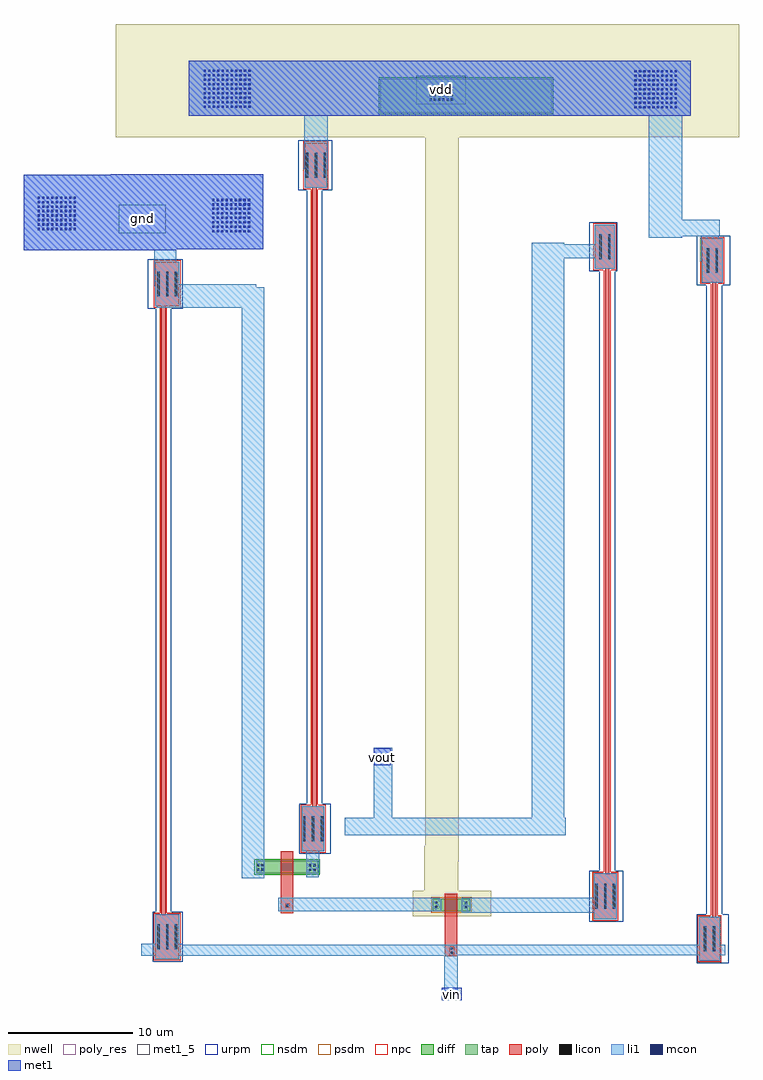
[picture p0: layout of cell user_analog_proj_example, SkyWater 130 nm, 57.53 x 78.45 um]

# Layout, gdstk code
import gdstk
lib = gdstk.Library(unit=1e-6, precision=1e-09)
def R(c, l, rs):  # rectangles x0, y0, x1, y1
    for r in rs: c.add(gdstk.rectangle(r[:2], r[2:], *l))
def A(c, l, x, y, w, h, nx, ny, dx, dy):  # array of equal rectangles
    R(c, l, [(x+i*dx, y+j*dy, x+i*dx+w, y+j*dy+h) for i in range(nx) for j in range(ny)])
nwell = (64, 20)
diff = (65, 20)
tap = (65, 44)
poly_res = (66, 13)
poly = (66, 20)
licon = (66, 44)
li1 = (67, 20)
mcon = (67, 44)
met1_5 = (68, 5)
met1 = (68, 20)
urpm = (79, 20)
nsdm = (93, 44)
psdm = (94, 20)
npc = (95, 20)

user_analog_proj_example = lib.new_cell('user_analog_proj_example')
R(user_analog_proj_example, nwell, [(-2.86,-1.36,3.47,0.69), (-1.92,0.69,0.81,3.04), (-1.92,3.04,0.86,4.27), (-1.85,4.27,0.86,61.25), (-26.73,61.25,23.41,70.34)])
R(user_analog_proj_example, diff, [(-1.23,-0.97,1.77,0.03), (-15.44,2.07,-10.44,3.07)])
R(user_analog_proj_example, tap, [(-5.45,63.21,8.32,65.92)])
R(user_analog_proj_example, poly_res, [(21.16,-1.48,21.63,-1.42), (21.22,-1.42,21.57,49.56), (-23.12,-1.28,-22.65,-1.22), (-23.06,-1.22,-22.71,47.64), (12.55,2.01,13.02,2.07), (12.61,2.07,12.96,50.65), (-10.98,7.41,-10.51,7.47), (-10.92,7.47,-10.57,57.17), (-23.12,47.64,-22.65,47.7), (21.16,49.56,21.63,49.62), (12.55,50.65,13.02,50.71), (-10.98,57.17,-10.51,57.23)])
R(user_analog_proj_example, poly, [(20.17,-4.96,21.86,-1.42), (-23.55,-4.82,-21.6,-1.22), (-0.27,-4.58,0.73,0.42), (11.71,-1.63,13.56,2.07), (21.22,-1.42,21.57,49.56), (-23.06,-1.22,-22.71,47.64), (-13.44,-1.15,-12.44,3.85), (12.61,2.07,12.96,50.65), (-11.75,3.83,-9.95,7.47), (-10.92,7.47,-10.57,57.17), (-23.55,47.64,-21.6,51.24), (20.39,49.56,22.08,53.1), (11.78,50.65,13.41,54.21), (-11.53,57.17,-9.73,60.81)])
A(user_analog_proj_example, licon, -23.38, -4.02, 0.19, 2, 3, 2, 0.71, 52.46)
A(user_analog_proj_example, licon, 11.83, -0.78, 0.19, 2, 3, 1, 0.71, 0)
A(user_analog_proj_example, licon, -11.655, 4.65, 0.19, 2, 3, 1, 0.71, 0)
A(user_analog_proj_example, licon, -11.435, 57.99, 0.19, 2, 3, 1, 0.71, 0)
A(user_analog_proj_example, licon, -1.49, 64.19, 0.17, 0.17, 6, 4, 0.34, 0.34)
R(user_analog_proj_example, licon, [(0.21,-4.405,0.38,-4.235), (20.565,-4.19,20.755,-2.19), (21.275,-4.19,21.465,-2.19), (0.21,-4.065,0.38,-3.895), (1.34,-0.725,1.51,-0.555), (-1.04,-0.705,-0.87,-0.535), (-13.005,-0.6,-12.835,-0.43), (1.34,-0.385,1.51,-0.215), (-1.04,-0.365,-0.87,-0.195), (-11.165,2.28,-10.995,2.45), (-10.825,2.28,-10.655,2.45), (-15.345,2.295,-15.175,2.465), (-15.005,2.295,-14.835,2.465), (-11.165,2.62,-10.995,2.79), (-10.825,2.62,-10.655,2.79), (-15.345,2.635,-15.175,2.805), (-15.005,2.635,-14.835,2.805), (20.785,50.33,20.975,52.33), (21.495,50.33,21.685,52.33), (12.145,51.43,12.335,53.43), (12.855,51.43,13.045,53.43)])
R(user_analog_proj_example, li1, [(-0.3,-8.05,0.79,-4.54), (20.17,-4.96,21.86,-4.51), (-23.55,-4.82,-21.6,-4.54), (-24.66,-4.54,0.79,-4.51), (-24.66,-4.51,22.27,-3.68), (-24.66,-3.68,0.33,-3.65), (20.17,-3.68,21.86,-1.42), (-24.66,-3.65,-21.38,-3.6), (-23.55,-3.6,-21.6,-1.22), (11.71,-1.63,13.56,-1.09), (1.08,-1.09,13.56,-0.97), (-13.65,-0.99,-0.68,-0.97), (-13.65,-0.97,-0.55,0.02), (1.07,-0.97,13.56,0.02), (-13.65,0.02,-0.68,0.09), (1.08,0.02,13.56,0.12), (-13.21,0.09,-0.68,0.1), (11.71,0.12,13.56,2.07), (-16.57,1.68,-14.78,47.52), (-11.41,1.77,-10.4,2.11), (-11.41,2.11,-10.37,3.83), (-11.75,3.83,-9.95,7.47), (-8.3,5.13,9.45,6.55), (-5.98,6.55,-4.5,12.17), (6.71,6.55,9.33,51.51), (-23.44,47.52,-14.78,47.64), (-23.55,47.64,-14.78,49.17), (-23.55,49.17,-15.42,49.25), (-23.64,49.25,-15.42,49.43), (-23.64,49.43,-21.6,51.24), (20.39,49.56,22.08,51.27), (11.78,50.65,13.41,51.51), (-23.64,51.24,-21.87,52.16), (20.31,51.27,22.08,53.1), (6.71,51.51,13.41,52.64), (-34.12,52.16,-21.87,52.22), (-34.12,52.22,-14.86,58.22), (6.71,52.64,9.33,52.76), (11.78,52.64,13.41,54.21), (20.31,53.1,21.76,53.29), (16.14,53.17,18.8,53.29), (16.14,53.29,21.83,54.62), (16.14,54.62,18.8,62.95), (-11.53,57.17,-9.73,58.68), (-27.11,58.22,-14.86,58.28), (-11.59,58.68,-9.66,60.67), (-11.57,60.67,-9.68,62.95), (-20.86,62.95,19.49,67.37)])
A(user_analog_proj_example, mcon, -18.97, 53.59, 0.17, 0.17, 9, 8, 0.36, 0.36)
A(user_analog_proj_example, mcon, -32.99, 53.78, 0.17, 0.17, 9, 8, 0.36, 0.36)
A(user_analog_proj_example, mcon, 14.98, 63.575, 0.17, 0.17, 10, 9, 0.36, 0.36)
A(user_analog_proj_example, mcon, -19.65, 63.605, 0.17, 0.17, 11, 9, 0.36, 0.36)
R(user_analog_proj_example, mcon, [(0.03,-7.715,0.2,-7.545), (0.39,-7.715,0.56,-7.545), (-5.35,11.135,-5.18,11.305), (-5.35,11.495,-5.18,11.665)])
R(user_analog_proj_example, met1_5, [(0.03,-7.86,0.58,-7.4), (-5.48,11.12,-5.05,11.68), (-26.48,53.54,-22.69,55.82), (-2.55,63.9,1.43,66.17)])
R(user_analog_proj_example, met1, [(-0.5,-8.11,1.09,-7.14), (-5.98,10.75,-4.62,12.11), (-34.12,52.16,-21.87,52.22), (-34.12,52.22,-14.86,58.22), (-27.11,58.22,-14.86,58.28), (-20.86,62.95,19.49,67.37)])
R(user_analog_proj_example, urpm, [(19.97,-5.16,22.55,-1.22), (-23.75,-5.02,-21.32,-1.02), (11.325,-1.83,14.095,2.27), (20.76,-1.22,22.03,49.36), (-23.52,-1.02,-22.25,47.44), (12.15,2.27,13.42,50.45), (-11.95,3.63,-9.425,7.67), (-11.38,7.67,-10.11,56.97), (-24.14,47.44,-21.32,51.44), (19.97,49.36,22.66,53.3), (11.36,50.45,13.61,54.41), (-12.06,56.97,-9.315,61.01)])
R(user_analog_proj_example, nsdm, [(-15.565,1.945,-10.315,3.195), (-5.575,63.085,8.445,66.045)])
R(user_analog_proj_example, psdm, [(20.06,-5.07,21.97,-1.31), (-23.66,-4.93,-21.49,-1.11), (11.6,-1.74,13.67,2.18), (21.11,-1.31,21.68,49.45), (-23.17,-1.11,-22.6,47.53), (-1.355,-1.095,1.895,0.155), (12.5,2.18,13.07,50.54), (-11.86,3.72,-9.84,7.58), (-11.03,7.58,-10.46,57.06), (-23.66,47.53,-21.49,51.35), (20.28,49.45,22.19,53.21), (11.67,50.54,13.52,54.32), (-11.64,57.06,-9.62,60.92)])
R(user_analog_proj_example, npc, [(20.075,-5.055,21.955,-1.325), (-23.645,-4.915,-21.505,-1.125), (0.11,-4.505,0.48,-3.795), (11.615,-1.725,13.655,2.165), (21.125,-1.325,21.665,49.465), (-23.155,-1.125,-22.615,47.545), (-13.105,-0.7,-12.735,-0.33), (12.515,2.165,13.055,50.555), (-11.845,3.735,-9.855,7.565), (-11.015,7.565,-10.475,57.075), (-23.645,47.545,-21.505,51.335), (20.295,49.465,22.175,53.195), (11.685,50.555,13.505,54.305), (-11.625,57.075,-9.635,60.905)])
user_analog_proj_example.add(gdstk.Label('vin', (0.305,-7.63), layer=68, texttype=5))
user_analog_proj_example.add(gdstk.Label('vout', (-5.265,11.4), layer=68, texttype=5))
user_analog_proj_example.add(gdstk.Label('vdd', (-0.56,65.035), layer=68, texttype=5))
user_analog_proj_example.add(gdstk.Label('gnd', (-24.585,54.68), layer=68, texttype=5))

lib.write_gds('user_analog_proj_example.gds')
